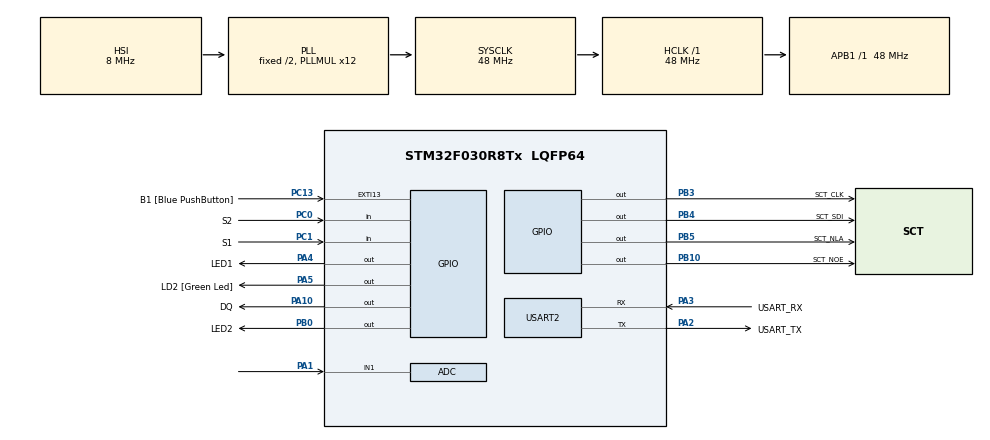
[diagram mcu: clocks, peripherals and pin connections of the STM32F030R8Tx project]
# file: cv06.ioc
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ADC.ContinuousConvMode=ENABLE
ADC.Overrun=ADC_OVR_DATA_OVERWRITTEN
ADC.Resolution=ADC_RESOLUTION_10B
Mcu.Family=STM32F0
Mcu.Name=STM32F030R8Tx
Mcu.Package=LQFP64
PA1.Mode=IN1
PA1.Signal=ADC_IN1
PA10.GPIO_Label=DQ
PA10.GPIO_ModeDefaultOutputPP=GPIO_MODE_OUTPUT_OD
PA10.GPIO_PuPd=GPIO_NOPULL
PA10.Signal=GPIO_Output
PA13.GPIO_Label=TMS
PA13.Mode=Serial_Wire
PA13.Signal=SYS_SWDIO
PA14.GPIO_Label=TCK
PA14.Mode=Serial_Wire
PA14.Signal=SYS_SWCLK
PA2.GPIO_Label=USART_TX
PA2.GPIO_Mode=GPIO_MODE_AF_PP
PA2.GPIO_PuPd=GPIO_NOPULL
PA2.GPIO_Speed=GPIO_SPEED_FREQ_LOW
PA2.Mode=Asynchronous
PA2.Signal=USART2_TX
PA3.GPIO_Label=USART_RX
PA3.GPIO_Mode=GPIO_MODE_AF_PP
PA3.GPIO_PuPd=GPIO_NOPULL
PA3.GPIO_Speed=GPIO_SPEED_FREQ_LOW
PA3.Mode=Asynchronous
PA3.Signal=USART2_RX
PA4.GPIO_Label=LED1
PA4.Signal=GPIO_Output
PA5.GPIO_Label=LD2 [Green Led]
PA5.GPIO_Mode=GPIO_MODE_OUTPUT_PP
PA5.GPIO_PuPd=GPIO_NOPULL
PA5.GPIO_Speed=GPIO_SPEED_FREQ_LOW
PA5.Signal=GPIO_Output
PB0.GPIO_Label=LED2
PB0.Signal=GPIO_Output
PB10.GPIO_Label=SCT_NOE
PB10.Signal=GPIO_Output
PB3.GPIO_Label=SCT_CLK
PB3.Signal=GPIO_Output
PB4.GPIO_Label=SCT_SDI
PB4.Signal=GPIO_Output
PB5.GPIO_Label=SCT_NLA
PB5.Signal=GPIO_Output
PC0.GPIO_Label=S2
PC0.GPIO_PuPd=GPIO_PULLUP
PC0.Signal=GPIO_Input
PC1.GPIO_Label=S1
PC1.GPIO_PuPd=GPIO_PULLUP
PC1.Signal=GPIO_Input
PC13.GPIO_Label=B1 [Blue PushButton]
PC13.GPIO_ModeDefaultEXTI=GPIO_MODE_IT_FALLING
PC13.Signal=GPXTI13
PC14-OSC32_IN.Mode=LSE-External-Oscillator
PC14-OSC32_IN.Signal=RCC_OSC32_IN
PC15-OSC32_OUT.Mode=LSE-External-Oscillator
PC15-OSC32_OUT.Signal=RCC_OSC32_OUT
PF0-OSC_IN.Mode=HSE-External-Clock-Source
PF0-OSC_IN.Signal=RCC_OSC_IN
PF1-OSC_OUT.Signal=RCC_OSC_OUT
ProjectManager.HeapSize=0x200
ProjectManager.StackSize=0x400
ProjectManager.TargetToolchain=STM32CubeIDE
RCC.AHBFreq_Value=48000000
RCC.APB1Freq_Value=48000000
RCC.APB1TimFreq_Value=48000000
RCC.HCLKFreq_Value=48000000
RCC.PLLMUL=RCC_PLL_MUL12
RCC.SYSCLKFreq_VALUE=48000000
RCC.SYSCLKSource=RCC_SYSCLKSOURCE_PLLCLK
USART2.VirtualMode-Asynchronous=VM_ASYNC
board=NUCLEO-F030R8

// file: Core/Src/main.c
/* USER CODE BEGIN Header */
/**
 ******************************************************************************
 * @file           : main.c
 * @brief          : Main program body
 ******************************************************************************
 * @attention
 *
 * Copyright (c) 2022 STMicroelectronics.
 * All rights reserved.
 *
 * This software is licensed under terms that can be found in the LICENSE file
 * in the root directory of this software component.
 * If no LICENSE file comes with this software, it is provided AS-IS.
 *
 ******************************************************************************
 */
/* USER CODE END Header */
#include "main.h"

/* USER CODE BEGIN Includes */
#include "1wire.h"
#include "sct.h"
#include "data.h"
/* USER CODE END Includes */

/* USER CODE BEGIN PD */
#define DISPLAY_PERIOD 50		// delay 50ms
#define DS18_DELAY 750			// delay 750ms
#define NTC_DELAY 350           // delay 350ms
/* USER CODE END PD */

ADC_HandleTypeDef hadc;

UART_HandleTypeDef huart2;

void SystemClock_Config(void);
static void MX_GPIO_Init(void);
static void MX_USART2_UART_Init(void);
static void MX_ADC_Init(void);

int main(void) {

	/* MCU Configuration--------------------------------------------------------*/

	/* Reset of all peripherals, Initializes the Flash interface and the Systick. */
	HAL_Init();

	/* Configure the system clock */
	SystemClock_Config();

	/* Initialize all configured peripherals */
	MX_GPIO_Init();
	MX_USART2_UART_Init();
	MX_ADC_Init();
	/* USER CODE BEGIN 2 */
	HAL_ADCEx_Calibration_Start(&hadc);
	HAL_ADC_Start(&hadc);

	OWInit();
	sct_init();
	/* USER CODE END 2 */

	/* Infinite loop */
	/* USER CODE BEGIN WHILE */
	while (1) {

		static uint32_t lastDisplayTicks = 0;
		static uint32_t lastBtnPress;
		static enum { SHOW_NTC, SHOW_DS18 } state = SHOW_NTC;
		int16_t temp_18b20;
		uint16_t adc;

		OWConvertAll();

		if (HAL_GetTick() >= lastDisplayTicks + DS18_DELAY) {
			lastDisplayTicks = HAL_GetTick();

			//--------------DS18---------------------
			if (HAL_GPIO_ReadPin(S1_GPIO_Port, S1_Pin) == 0) {
				lastBtnPress = HAL_GetTick();
				state = SHOW_DS18;
			}

			//--------------NTC---------------------
			if (HAL_GPIO_ReadPin(S2_GPIO_Port, S2_Pin) == 0) {
				lastBtnPress = HAL_GetTick();
				state = SHOW_NTC;
			}

			switch (state) {

			//--------------NTC---------------------
			case SHOW_NTC: {
				HAL_GPIO_WritePin(LED1_GPIO_Port, LED1_Pin, 1);
				HAL_GPIO_WritePin(LED2_GPIO_Port, LED2_Pin, 0);
				adc = HAL_ADC_GetValue(&hadc);
				sct_value(NTC_DATA[adc], 0);
				HAL_Delay(100);

				break;
			}

			//--------------DS18---------------------
			case SHOW_DS18: {
				HAL_GPIO_WritePin(LED2_GPIO_Port, LED2_Pin, 1);
				HAL_GPIO_WritePin(LED1_GPIO_Port, LED1_Pin, 0);

				OWReadTemperature(&temp_18b20);
				sct_value(temp_18b20/10, 0);

			}
		}
	}

		/* Task 2.3
		 uint16_t adc;
		 adc = HAL_ADC_GetValue(&hadc);			//vycitenie hodnoty z AD prevodniku
		 sct_value(NTC_DATA[adc], 0);				//zobrazenie na dipleji
		 HAL_Delay(100);
		 */

		/* Task 2.2
		 int16_t temp_18b20;

		 OWConvertAll();
		 HAL_Delay(CONVERT_T_DELAY);  				//cakanie po dobu prevodu
		 OWReadTemperature(&temp_18b20);			//citanie vysledku

		 sct_value(temp_18b20/10, 0);				//zobrazenie na displeji
		 */

		/* USER CODE END WHILE */

	}
}

void SystemClock_Config(void) {
	RCC_OscInitTypeDef RCC_OscInitStruct = { 0 };
	RCC_ClkInitTypeDef RCC_ClkInitStruct = { 0 };

	/** Initializes the RCC Oscillators according to the specified parameters
	 * in the RCC_OscInitTypeDef structure.
	 */
	RCC_OscInitStruct.OscillatorType = RCC_OSCILLATORTYPE_HSI
			| RCC_OSCILLATORTYPE_HSI14;
	RCC_OscInitStruct.HSIState = RCC_HSI_ON;
	RCC_OscInitStruct.HSI14State = RCC_HSI14_ON;
	RCC_OscInitStruct.HSICalibrationValue = RCC_HSICALIBRATION_DEFAULT;
	RCC_OscInitStruct.HSI14CalibrationValue = 16;
	RCC_OscInitStruct.PLL.PLLState = RCC_PLL_ON;
	RCC_OscInitStruct.PLL.PLLSource = RCC_PLLSOURCE_HSI;
	RCC_OscInitStruct.PLL.PLLMUL = RCC_PLL_MUL12;
	RCC_OscInitStruct.PLL.PREDIV = RCC_PREDIV_DIV1;
	if (HAL_RCC_OscConfig(&RCC_OscInitStruct) != HAL_OK) {
		Error_Handler();
	}

	/** Initializes the CPU, AHB and APB buses clocks
	 */
	RCC_ClkInitStruct.ClockType = RCC_CLOCKTYPE_HCLK | RCC_CLOCKTYPE_SYSCLK
			| RCC_CLOCKTYPE_PCLK1;
	RCC_ClkInitStruct.SYSCLKSource = RCC_SYSCLKSOURCE_PLLCLK;
	RCC_ClkInitStruct.AHBCLKDivider = RCC_SYSCLK_DIV1;
	RCC_ClkInitStruct.APB1CLKDivider = RCC_HCLK_DIV1;

	if (HAL_RCC_ClockConfig(&RCC_ClkInitStruct, FLASH_LATENCY_1) != HAL_OK) {
		Error_Handler();
	}
}

static void MX_ADC_Init(void) {

	ADC_ChannelConfTypeDef sConfig = { 0 };

	/** Configure the global features of the ADC (Clock, Resolution, Data Alignment and number of conversion)
	 */
	hadc.Instance = ADC1;
	hadc.Init.ClockPrescaler = ADC_CLOCK_ASYNC_DIV1;
	hadc.Init.Resolution = ADC_RESOLUTION_10B;
	hadc.Init.DataAlign = ADC_DATAALIGN_RIGHT;
	hadc.Init.ScanConvMode = ADC_SCAN_DIRECTION_FORWARD;
	hadc.Init.EOCSelection = ADC_EOC_SINGLE_CONV;
	hadc.Init.LowPowerAutoWait = DISABLE;
	hadc.Init.LowPowerAutoPowerOff = DISABLE;
	hadc.Init.ContinuousConvMode = ENABLE;
	hadc.Init.DiscontinuousConvMode = DISABLE;
	hadc.Init.ExternalTrigConv = ADC_SOFTWARE_START;
	hadc.Init.ExternalTrigConvEdge = ADC_EXTERNALTRIGCONVEDGE_NONE;
	hadc.Init.DMAContinuousRequests = DISABLE;
	hadc.Init.Overrun = ADC_OVR_DATA_OVERWRITTEN;
	if (HAL_ADC_Init(&hadc) != HAL_OK) {
		Error_Handler();
	}

	/** Configure for the selected ADC regular channel to be converted.
	 */
	sConfig.Channel = ADC_CHANNEL_1;
	sConfig.Rank = ADC_RANK_CHANNEL_NUMBER;
	sConfig.SamplingTime = ADC_SAMPLETIME_1CYCLE_5;
	if (HAL_ADC_ConfigChannel(&hadc, &sConfig) != HAL_OK) {
		Error_Handler();
	}

}

static void MX_USART2_UART_Init(void) {

	huart2.Instance = USART2;
	huart2.Init.BaudRate = 38400;
	huart2.Init.WordLength = UART_WORDLENGTH_8B;
	huart2.Init.StopBits = UART_STOPBITS_1;
	huart2.Init.Parity = UART_PARITY_NONE;
	huart2.Init.Mode = UART_MODE_TX_RX;
	huart2.Init.HwFlowCtl = UART_HWCONTROL_NONE;
	huart2.Init.OverSampling = UART_OVERSAMPLING_16;
	huart2.Init.OneBitSampling = UART_ONE_BIT_SAMPLE_DISABLE;
	huart2.AdvancedInit.AdvFeatureInit = UART_ADVFEATURE_NO_INIT;
	if (HAL_UART_Init(&huart2) != HAL_OK) {
		Error_Handler();
	}

}

static void MX_GPIO_Init(void) {
	GPIO_InitTypeDef GPIO_InitStruct = { 0 };

	/* GPIO Ports Clock Enable */
	__HAL_RCC_GPIOC_CLK_ENABLE();
	__HAL_RCC_GPIOF_CLK_ENABLE();
	__HAL_RCC_GPIOA_CLK_ENABLE();
	__HAL_RCC_GPIOB_CLK_ENABLE();

	/*Configure GPIO pin Output Level */
	HAL_GPIO_WritePin(GPIOA, GPIO_PIN_4 | GPIO_PIN_5 | GPIO_PIN_10,
			GPIO_PIN_RESET);

	/*Configure GPIO pin Output Level */
	HAL_GPIO_WritePin(GPIOB,
			GPIO_PIN_0 | GPIO_PIN_10 | GPIO_PIN_3 | GPIO_PIN_4 | GPIO_PIN_5,
			GPIO_PIN_RESET);

	/*Configure GPIO pin : PC13 */
	GPIO_InitStruct.Pin = GPIO_PIN_13;
	GPIO_InitStruct.Mode = GPIO_MODE_IT_FALLING;
	GPIO_InitStruct.Pull = GPIO_NOPULL;
	HAL_GPIO_Init(GPIOC, &GPIO_InitStruct);

	/*Configure GPIO pins : PC0 PC1 */
	GPIO_InitStruct.Pin = GPIO_PIN_0 | GPIO_PIN_1;
	GPIO_InitStruct.Mode = GPIO_MODE_INPUT;
	GPIO_InitStruct.Pull = GPIO_PULLUP;
	HAL_GPIO_Init(GPIOC, &GPIO_InitStruct);

	/*Configure GPIO pins : PA4 PA5 */
	GPIO_InitStruct.Pin = GPIO_PIN_4 | GPIO_PIN_5;
	GPIO_InitStruct.Mode = GPIO_MODE_OUTPUT_PP;
	GPIO_InitStruct.Pull = GPIO_NOPULL;
	GPIO_InitStruct.Speed = GPIO_SPEED_FREQ_LOW;
	HAL_GPIO_Init(GPIOA, &GPIO_InitStruct);

	/*Configure GPIO pins : PB0 PB10 PB3 PB4
	 PB5 */
	GPIO_InitStruct.Pin = GPIO_PIN_0 | GPIO_PIN_10 | GPIO_PIN_3 | GPIO_PIN_4
			| GPIO_PIN_5;
	GPIO_InitStruct.Mode = GPIO_MODE_OUTPUT_PP;
	GPIO_InitStruct.Pull = GPIO_NOPULL;
	GPIO_InitStruct.Speed = GPIO_SPEED_FREQ_LOW;
	HAL_GPIO_Init(GPIOB, &GPIO_InitStruct);

	/*Configure GPIO pin : PA10 */
	GPIO_InitStruct.Pin = GPIO_PIN_10;
	GPIO_InitStruct.Mode = GPIO_MODE_OUTPUT_OD;
	GPIO_InitStruct.Pull = GPIO_NOPULL;
	GPIO_InitStruct.Speed = GPIO_SPEED_FREQ_LOW;
	HAL_GPIO_Init(GPIOA, &GPIO_InitStruct);

}

void Error_Handler(void) {
	__disable_irq();
	while (1) {
	}
}
